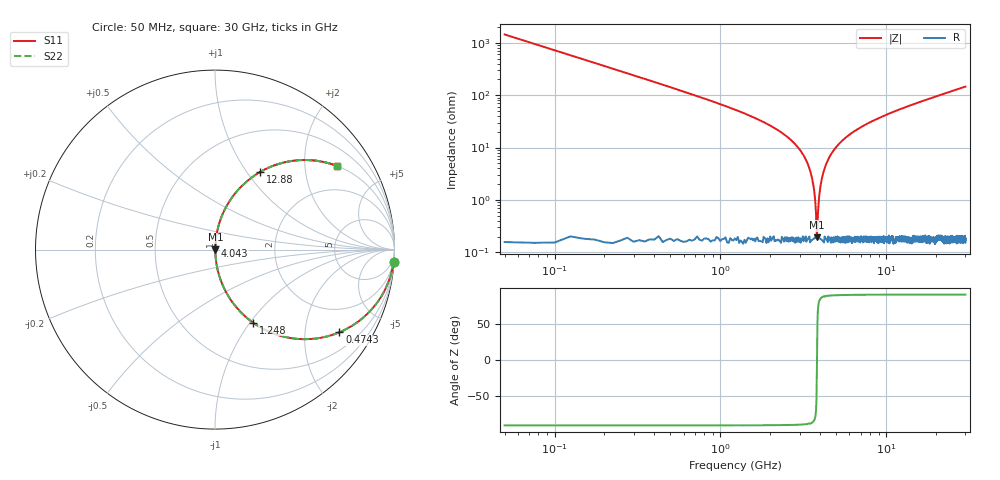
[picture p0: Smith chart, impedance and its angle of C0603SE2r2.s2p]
!	AVX Thin Film Operation 	Date: April 2014
!	Description: Accu-P® Series, Thin Film  SMD RF Capacitor
!	Part Number: 06031J2R2QBSTR
# MHZ S MA R 50
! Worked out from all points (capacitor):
!   1201 points, 50 MHz to 30 GHz, reference 50 ohm
!   read as one part in series: C = 2.2 pF near 199.8 MHz
!   lowest |Z| = 192 mohm at 3.819 GHz (marker M1)
!   series resonance near 3.822 GHz, so ESL is about 790 pH
!   S11 on the Smith chart (normalised r, x): 50 MHz: 1, -29; 474.3 MHz: 1.00, -3.00; 1.248 GHz: 1.00, -1.04; 4.043 GHz: 1.00, +0.04; 12.88 GHz: 1.00, +1.16; 30 GHz: 1.00, +2.92
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50  0.998 -4.0  0.069 86.0  0.069 86.0  0.998 -4.0
274.625  0.934 -20.9  0.356 69.1  0.356 69.1  0.934 -20.9
474.292  0.832 -33.6  0.554 56.3  0.554 56.3  0.832 -33.6
1248  0.459 -62.5  0.887 27.3  0.887 27.3  0.459 -62.5
2470.958  0.168 -79.7  0.984 9.7  0.984 9.7  0.168 -79.7
3119.875  0.077 -84.3  0.995 4.4  0.995 4.4  0.077 -84.3
3494.25  0.034 -85.1  0.998 1.9  0.998 1.9  0.034 -85.1
3594.083  0.023 -84.3  0.998 1.3  0.998 1.3  0.023 -84.3
3718.875  0.011 -79.7  0.998 0.6  0.998 0.6  0.011 -79.7
3818.708  0.001806 -11.9  0.998 0.0  0.998 0.0  0.001806 -11.9
3918.542  0.009543 78.8  0.998 -0.5  0.998 -0.5  0.009543 78.8
4043.333  0.021 84.0  0.998 -1.2  0.998 -1.2  0.021 84.0
4193.083  0.035 85.1  0.998 -2.0  0.998 -2.0  0.035 85.1
4392.75  0.053 85.1  0.997 -3.0  0.997 -3.0  0.053 85.1
5041.667  0.105 83.0  0.993 -6.0  0.993 -6.0  0.105 83.0
6913.542  0.231 76.2  0.971 -13.3  0.971 -13.3  0.231 76.2
10058.29  0.391 66.7  0.919 -23.0  0.919 -23.0  0.391 66.7
12878.58  0.502 59.7  0.863 -30.1  0.863 -30.1  0.502 59.7
15025  0.57 55.1  0.82 -34.8  0.82 -34.8  0.57 55.1
20016.67  0.69 46.3  0.723 -43.6  0.723 -43.6  0.69 46.3
25033.29  0.77 39.5  0.636 -50.4  0.636 -50.4  0.77 39.5
30000  0.825 34.4  0.564 -55.6  0.564 -55.6  0.825 34.4
